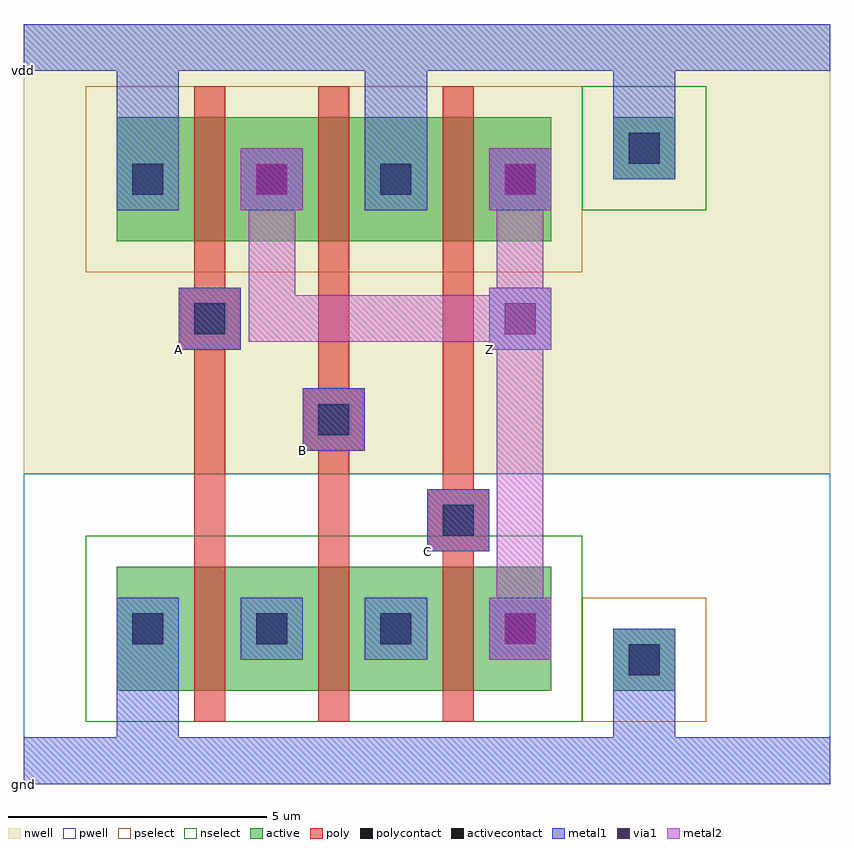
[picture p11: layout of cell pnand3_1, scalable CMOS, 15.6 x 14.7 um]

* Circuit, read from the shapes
.subckt pnand3_1 A B C Z gnd vdd
M1 nmos_m1_w2_4_a_p_3/D A gnd gnd nfet w=2.4u l=0.6u
M2 nmos_m1_w2_4_a_p_4/D B nmos_m1_w2_4_a_p_3/D gnd nfet w=2.4u l=0.6u
M3 Z C nmos_m1_w2_4_a_p_4/D gnd nfet w=2.4u l=0.6u
M4 Z A vdd vdd pfet w=2.4u l=0.6u
M5 vdd B Z vdd pfet w=2.4u l=0.6u
M6 Z C vdd vdd pfet w=2.4u l=0.6u
.ends

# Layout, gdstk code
from math import pi, radians
import gdstk
lib = gdstk.Library(unit=1e-6, precision=1e-09)
def R(c, l, rs):  # rectangles x0, y0, x1, y1
    for r in rs: c.add(gdstk.rectangle(r[:2], r[2:], *l))
def A(c, l, x, y, w, h, nx, ny, dx, dy):  # array of equal rectangles
    R(c, l, [(x+i*dx, y+j*dy, x+i*dx+w, y+j*dy+h) for i in range(nx) for j in range(ny)])
pwell = (41, 0)
nwell = (42, 0)
active = (43, 0)
pselect = (44, 0)
nselect = (45, 0)
poly = (46, 0)
polycontact = (47, 0)
activecontact = (48, 0)
metal1 = (49, 0)
via1 = (50, 0)
metal2 = (51, 0)

active_contact_metal1_1x = lib.new_cell('active_contact_metal1_1x1_pn')
R(active_contact_metal1_1x, nwell, [(-1.8,-1.8,3,3), (-1.8,-1.8,3,3)])
R(active_contact_metal1_1x, active, [(0,0,1.2,1.2), (0,0,1.2,1.2)])
R(active_contact_metal1_1x, pselect, [(-0.6,-0.6,1.8,1.8), (-0.6,-0.6,1.8,1.8)])
R(active_contact_metal1_1x, activecontact, [(0.3,0.3,0.9,0.9), (0.3,0.3,0.9,0.9)])
R(active_contact_metal1_1x, metal1, [(0,0,1.2,1.2), (0,0,1.2,1.2)])

pmos_m1_w2_4_a_p = lib.new_cell('pmos_m1_w2_4_a_p')
R(pmos_m1_w2_4_a_p, nwell, [(-1.8,-1.8,5.4,4.2), (-1.8,-1.8,5.4,4.2)])
R(pmos_m1_w2_4_a_p, active, [(0,0,3.6,2.4), (0,0,3.6,2.4)])
R(pmos_m1_w2_4_a_p, pselect, [(-0.6,-0.6,4.2,3), (-0.6,-0.6,4.2,3)])
R(pmos_m1_w2_4_a_p, poly, [(1.5,-0.6,2.1,3), (1.5,-0.6,2.1,3), (1.5,-0.6,2.1,3), (1.5,-0.6,2.1,3)])
R(pmos_m1_w2_4_a_p, metal1, [(0,0.6,1.2,1.8), (0,0.6,1.2,1.8), (2.4,0.6,3.6,1.8), (2.4,0.6,3.6,1.8)])
pmos_m1_w2_4_a_p.add(gdstk.Reference(active_contact_metal1_1x, (0,0.6)))
pmos_m1_w2_4_a_p.add(gdstk.Reference(active_contact_metal1_1x, (2.4,0.6)))
pmos_m1_w2_4_a_p.add(gdstk.Reference(active_contact_metal1_1x, (0,0.6)))
pmos_m1_w2_4_a_p.add(gdstk.Reference(active_contact_metal1_1x, (2.4,0.6)))
pmos_m1_w2_4_a_p.add(gdstk.Label('S', (0,0.6), layer=49, texttype=0))
pmos_m1_w2_4_a_p.add(gdstk.Label('D', (2.4,0.6), layer=49, texttype=0))
pmos_m1_w2_4_a_p.add(gdstk.Label('G', (1.5,-0.6), layer=46, texttype=0))
pmos_m1_w2_4_a_p.add(gdstk.Label('S', (0,0.6), layer=49, texttype=0))
pmos_m1_w2_4_a_p.add(gdstk.Label('D', (2.4,0.6), layer=49, texttype=0))
pmos_m1_w2_4_a_p.add(gdstk.Label('G', (1.5,-0.6), layer=46, texttype=0))

c_active_contact_metal1_1x = lib.new_cell('active_contact_metal1_1x1_np')
R(c_active_contact_metal1_1x, pwell, [(-1.8,-1.8,3,3)])
R(c_active_contact_metal1_1x, active, [(0,0,1.2,1.2)])
R(c_active_contact_metal1_1x, nselect, [(-0.6,-0.6,1.8,1.8)])
R(c_active_contact_metal1_1x, activecontact, [(0.3,0.3,0.9,0.9)])
R(c_active_contact_metal1_1x, metal1, [(0,0,1.2,1.2)])

nmos_m1_w2_4_a_p = lib.new_cell('nmos_m1_w2_4_a_p')
R(nmos_m1_w2_4_a_p, pwell, [(-1.8,-1.8,5.4,4.2), (-1.8,-1.8,5.4,4.2)])
R(nmos_m1_w2_4_a_p, active, [(0,0,3.6,2.4), (0,0,3.6,2.4)])
R(nmos_m1_w2_4_a_p, nselect, [(-0.6,-0.6,4.2,3), (-0.6,-0.6,4.2,3)])
R(nmos_m1_w2_4_a_p, poly, [(1.5,-0.6,2.1,3), (1.5,-0.6,2.1,3), (1.5,-0.6,2.1,3), (1.5,-0.6,2.1,3)])
R(nmos_m1_w2_4_a_p, metal1, [(0,0.6,1.2,1.8), (0,0.6,1.2,1.8), (2.4,0.6,3.6,1.8), (2.4,0.6,3.6,1.8)])
nmos_m1_w2_4_a_p.add(gdstk.Reference(c_active_contact_metal1_1x, (0,0.6)))
nmos_m1_w2_4_a_p.add(gdstk.Reference(c_active_contact_metal1_1x, (2.4,0.6)))
nmos_m1_w2_4_a_p.add(gdstk.Reference(c_active_contact_metal1_1x, (0,0.6)))
nmos_m1_w2_4_a_p.add(gdstk.Reference(c_active_contact_metal1_1x, (2.4,0.6)))
nmos_m1_w2_4_a_p.add(gdstk.Label('S', (0,0.6), layer=49, texttype=0))
nmos_m1_w2_4_a_p.add(gdstk.Label('D', (2.4,0.6), layer=49, texttype=0))
nmos_m1_w2_4_a_p.add(gdstk.Label('G', (1.5,-0.6), layer=46, texttype=0))
nmos_m1_w2_4_a_p.add(gdstk.Label('S', (0,0.6), layer=49, texttype=0))
nmos_m1_w2_4_a_p.add(gdstk.Label('D', (2.4,0.6), layer=49, texttype=0))
nmos_m1_w2_4_a_p.add(gdstk.Label('G', (1.5,-0.6), layer=46, texttype=0))

c_active_contact_metal1_1x_ = lib.new_cell('active_contact_metal1_1x1_nn')
R(c_active_contact_metal1_1x_, nwell, [(-1.8,-1.8,3,3), (-1.8,-1.8,3,3)])
R(c_active_contact_metal1_1x_, active, [(0,0,1.2,1.2), (0,0,1.2,1.2)])
R(c_active_contact_metal1_1x_, nselect, [(-0.6,-0.6,1.8,1.8), (-0.6,-0.6,1.8,1.8)])
R(c_active_contact_metal1_1x_, activecontact, [(0.3,0.3,0.9,0.9), (0.3,0.3,0.9,0.9)])
R(c_active_contact_metal1_1x_, metal1, [(0,0,1.2,1.2), (0,0,1.2,1.2)])

c_active_contact_metal1_1x__ = lib.new_cell('active_contact_metal1_1x1_pp')
R(c_active_contact_metal1_1x__, pwell, [(-1.8,-1.8,3,3)])
R(c_active_contact_metal1_1x__, active, [(0,0,1.2,1.2)])
R(c_active_contact_metal1_1x__, pselect, [(-0.6,-0.6,1.8,1.8)])
R(c_active_contact_metal1_1x__, activecontact, [(0.3,0.3,0.9,0.9)])
R(c_active_contact_metal1_1x__, metal1, [(0,0,1.2,1.2)])

poly_contact_metal1_1x1 = lib.new_cell('poly_contact_metal1_1x1')
R(poly_contact_metal1_1x1, poly, [(0,0,1.2,1.2), (0,0,1.2,1.2)])
R(poly_contact_metal1_1x1, polycontact, [(0.3,0.3,0.9,0.9), (0.3,0.3,0.9,0.9)])
R(poly_contact_metal1_1x1, metal1, [(0,0,1.2,1.2), (0,0,1.2,1.2)])

metal1_via1_metal2_1x1 = lib.new_cell('metal1_via1_metal2_1x1')
R(metal1_via1_metal2_1x1, metal1, [(0,0,1.2,1.2), (0,0,1.2,1.2)])
R(metal1_via1_metal2_1x1, via1, [(0.3,0.3,0.9,0.9), (0.3,0.3,0.9,0.9)])
R(metal1_via1_metal2_1x1, metal2, [(0,0,1.2,1.2), (0,0,1.2,1.2)])

pnand3_1 = lib.new_cell('pnand3_1')
R(pnand3_1, pwell, [(0,-0.45,15.6,5.55)])
R(pnand3_1, nwell, [(0,5.55,15.6,14.25)])
A(pnand3_1, poly, 3.3, 0.75, 0.6, 8.7, 3, 1, 2.4, 0)
R(pnand3_1, poly, [(8.1,4.05,8.4,5.25), (5.7,6,6,7.2), (3.3,7.95,3.6,9.15)])
R(pnand3_1, metal1, [(0,-0.45,15.6,0.45), (1.8,-0.45,3,1.95), (11.4,0,12.6,1.95), (7.8,4.05,9,5.25), (5.4,6,6.6,7.2), (3,7.95,4.2,9.15), (9,7.95,10.2,9.15), (1.8,10.65,3,14.25), (6.6,10.65,7.8,14.25), (11.4,11.85,12.6,13.8), (0,13.35,15.6,14.25)])
R(pnand3_1, metal2, [(9.15,3.15,10.05,10.65), (9.15,3.15,10.05,8.55), (4.35,8.1,5.25,9), (4.8,8.1,9.6,9), (9.15,8.1,10.05,9), (4.35,8.55,5.25,10.65)])
pnand3_1.add(gdstk.Reference(pmos_m1_w2_4_a_p, (1.8,10.05)))
pnand3_1.add(gdstk.Reference(pmos_m1_w2_4_a_p, (4.2,10.05)))
pnand3_1.add(gdstk.Reference(pmos_m1_w2_4_a_p, (6.6,10.05)))
pnand3_1.add(gdstk.Reference(nmos_m1_w2_4_a_p, (1.8,1.35)))
pnand3_1.add(gdstk.Reference(nmos_m1_w2_4_a_p, (4.2,1.35)))
pnand3_1.add(gdstk.Reference(nmos_m1_w2_4_a_p, (6.6,1.35)))
pnand3_1.add(gdstk.Reference(c_active_contact_metal1_1x_, (11.4,11.25)))
pnand3_1.add(gdstk.Reference(c_active_contact_metal1_1x__, (11.4,1.35)))
pnand3_1.add(gdstk.Reference(poly_contact_metal1_1x1, (9,4.05), rotation=pi/2))
pnand3_1.add(gdstk.Reference(poly_contact_metal1_1x1, (6.6,6), rotation=pi/2))
pnand3_1.add(gdstk.Reference(poly_contact_metal1_1x1, (4.2,7.95), rotation=pi/2))
pnand3_1.add(gdstk.Reference(metal1_via1_metal2_1x1, (4.2,10.65)))
pnand3_1.add(gdstk.Reference(metal1_via1_metal2_1x1, (9,10.65)))
pnand3_1.add(gdstk.Reference(metal1_via1_metal2_1x1, (9,1.95)))
pnand3_1.add(gdstk.Reference(metal1_via1_metal2_1x1, (9,7.95)))
pnand3_1.add(gdstk.Label('A', (3,7.95), layer=49, texttype=0))
pnand3_1.add(gdstk.Label('C', (7.8,4.05), layer=49, texttype=0))
pnand3_1.add(gdstk.Label('B', (5.4,6), layer=49, texttype=0))
pnand3_1.add(gdstk.Label('vdd', (0,13.35), layer=49, texttype=0))
pnand3_1.add(gdstk.Label('gnd', (0,-0.45), layer=49, texttype=0))
pnand3_1.add(gdstk.Label('Z', (9,7.95), layer=49, texttype=0))

lib.write_gds('pnand3_1.gds')
